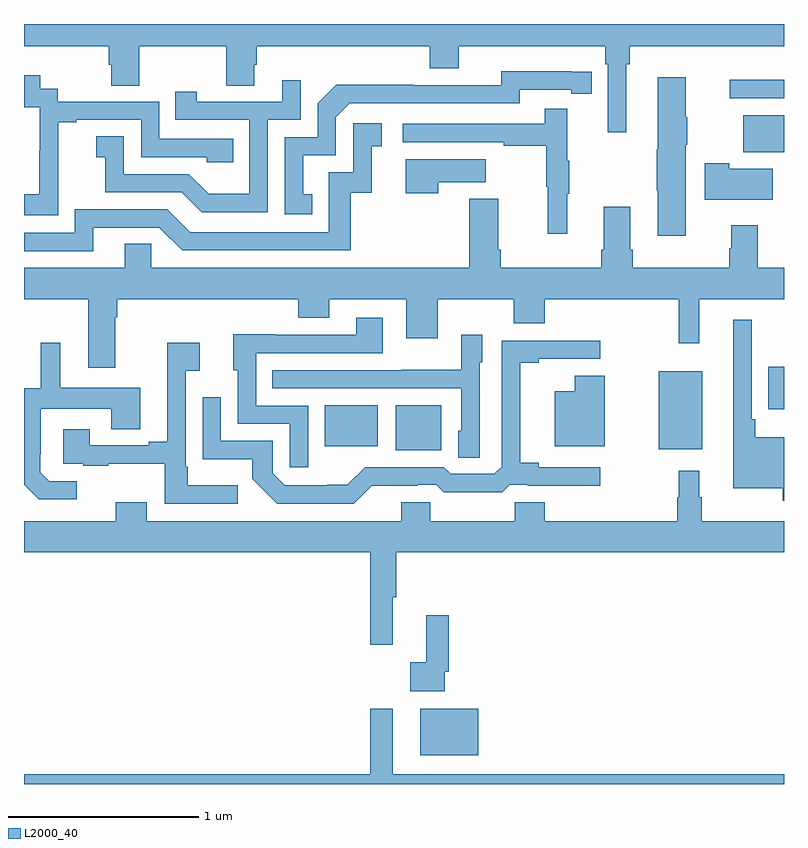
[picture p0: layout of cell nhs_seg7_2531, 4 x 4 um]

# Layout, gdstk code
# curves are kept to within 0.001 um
import gdstk
lib = gdstk.Library(unit=1e-6, precision=1e-09)
def R(c, l, rs):  # rectangles x0, y0, x1, y1
    for r in rs: c.add(gdstk.rectangle(r[:2], r[2:], *l))
def P(c, l, *ps):  # polygons
    for p in ps: c.add(gdstk.Polygon(p, *l))
L2000_40 = (2000, 40)

nhs_seg7_2531 = lib.new_cell('nhs_seg7_2531')
R(nhs_seg7_2531, L2000_40, [(277.085,1062.152,277.39,1062.397), (276.956,1063.757,277.195,1063.993), (278.342,1063.763,278.569,1064.173), (276.584,1063.778,276.862,1063.993), (278.918,1063.973,279,1064.197), (278.786,1065.326,279,1065.52), (278.715,1065.609,279,1065.706)])
P(nhs_seg7_2531, L2000_40, [(278.17,1065.788),(278.189,1065.788),(278.189,1065.884),(279,1065.884),(279,1066),(275,1066),(275,1065.884),(275.447,1065.884),(275.447,1065.786),(275.459,1065.786),(275.459,1065.676),(275.607,1065.676),(275.607,1065.884),(276.064,1065.884),(276.064,1065.676),(276.211,1065.676),(276.211,1065.786),(276.224,1065.786),(276.224,1065.884),(277.136,1065.884),(277.136,1065.767),(277.288,1065.767),(277.288,1065.884),(278.06,1065.884),(278.06,1065.788),(278.073,1065.788),(278.073,1065.429),(278.17,1065.429)],
  [(276.518,1065.105),(276.469,1065.105),(276.469,1065.309),(276.642,1065.309),(276.642,1065.51),(276.714,1065.582),(277.608,1065.582),(277.608,1065.654),(277.88,1065.654),(277.88,1065.634),(277.988,1065.634),(277.988,1065.75),(277.512,1065.751),(277.512,1065.678),(277.052,1065.678),(277.052,1065.68),(276.644,1065.68),(276.546,1065.582),(276.546,1065.405),(276.372,1065.405),(276.372,1065),(276.518,1065)],
  [(275.181,1065.199),(275.18,1065.199),(275.18,1065.483),(275.275,1065.483),(275.275,1065.495),(275.616,1065.495),(275.616,1065.3),(275.961,1065.3),(275.961,1065.273),(276.101,1065.273),(276.101,1065.396),(275.712,1065.396),(275.712,1065.591),(275.178,1065.591),(275.178,1065.66),(275.086,1065.66),(275.086,1065.73),(275,1065.73),(275,1065.561),(275.082,1065.561),(275.082,1065.332),(275.081,1065.332),(275.081,1065.103),(275,1065.103),(275,1064.993),(275.181,1064.993)],
  [(278.482,1065.364),(278.49,1065.364),(278.49,1065.508),(278.482,1065.508),(278.482,1065.721),(278.336,1065.721),(278.336,1065.341),(278.329,1065.341),(278.329,1065.124),(278.336,1065.124),(278.336,1064.886),(278.482,1064.886)],
  [(276.282,1065.495),(276.456,1065.495),(276.456,1065.703),(276.359,1065.703),(276.359,1065.591),(275.908,1065.591),(275.908,1065.643),(275.797,1065.643),(275.797,1065.495),(276.186,1065.495),(276.186,1065.106),(275.972,1065.106),(275.868,1065.21),(275.526,1065.21),(275.526,1065.409),(275.379,1065.409),(275.379,1065.299),(275.428,1065.299),(275.428,1065.114),(275.831,1065.114),(275.936,1065.009),(276.282,1065.009)],
  [(277.859,1065.107),(277.87,1065.107),(277.87,1065.281),(277.859,1065.281),(277.859,1065.553),(277.741,1065.553),(277.741,1065.474),(276.993,1065.474),(276.993,1065.378),(277.525,1065.378),(277.525,1065.358),(277.749,1065.358),(277.749,1065.144),(277.756,1065.144),(277.756,1064.895),(277.859,1064.895)],
  [(275.365,1064.928),(275.712,1064.928),(275.832,1064.808),(276.719,1064.808),(276.719,1065.111),(276.83,1065.111),(276.83,1065.357),(276.883,1065.357),(276.883,1065.478),(276.732,1065.478),(276.732,1065.219),(276.603,1065.219),(276.603,1064.904),(275.874,1064.904),(275.754,1065.024),(275.268,1065.024),(275.268,1064.901),(275,1064.901),(275,1064.805),(275.365,1064.805)],
  [(277.181,1065.167),(277.429,1065.167),(277.429,1065.289),(277.01,1065.289),(277.01,1065.108),(277.181,1065.108)],
  [(278.941,1065.238),(278.712,1065.238),(278.712,1065.268),(278.582,1065.268),(278.582,1065.074),(278.941,1065.074)],
  [(275.479,1064.456),(275.492,1064.456),(275.492,1064.552),(276.443,1064.552),(276.443,1064.453),(276.607,1064.453),(276.607,1064.552),(277.013,1064.552),(277.013,1064.346),(277.177,1064.346),(277.177,1064.552),(277.577,1064.552),(277.577,1064.424),(277.741,1064.424),(277.741,1064.552),(278.445,1064.552),(278.445,1064.319),(278.555,1064.319),(278.555,1064.552),(279,1064.552),(279,1064.716),(278.863,1064.716),(278.863,1064.941),(278.723,1064.941),(278.723,1064.82),(278.711,1064.82),(278.711,1064.716),(278.204,1064.716),(278.204,1064.812),(278.191,1064.812),(278.191,1065.037),(278.051,1065.037),(278.051,1064.812),(278.039,1064.812),(278.039,1064.716),(277.508,1064.716),(277.508,1064.812),(277.495,1064.812),(277.495,1065.079),(277.343,1065.079),(277.343,1064.716),(275.67,1064.716),(275.67,1064.843),(275.531,1064.843),(275.531,1064.716),(275,1064.716),(275,1064.552),(275.339,1064.552),(275.339,1064.19),(275.479,1064.19)],
  [(276.495,1063.992),(276.222,1063.992),(276.222,1064.268),(276.889,1064.268),(276.889,1064.455),(276.749,1064.455),(276.749,1064.364),(276.319,1064.364),(276.319,1064.366),(276.101,1064.366),(276.101,1064.178),(276.126,1064.178),(276.126,1063.896),(276.399,1063.896),(276.399,1063.668),(276.495,1063.668)],
  [(279,1063.825),(278.849,1063.825),(278.849,1063.921),(278.829,1063.921),(278.829,1064.443),(278.732,1064.443),(278.732,1063.556),(278.994,1063.556),(278.994,1063.491),(279,1063.491)],
  [(277.398,1064.22),(277.411,1064.22),(277.411,1064.365),(277.302,1064.365),(277.302,1064.179),(276.985,1064.179),(276.985,1064.178),(276.307,1064.178),(276.307,1064.082),(277.302,1064.082),(277.302,1063.86),(277.286,1063.86),(277.286,1063.717),(277.398,1063.717)],
  [(276.83,1063.571),(277.07,1063.571),(277.07,1063.575),(277.17,1063.575),(277.21,1063.536),(277.517,1063.536),(277.557,1063.575),(277.651,1063.575),(277.651,1063.571),(278.032,1063.571),(278.032,1063.668),(277.708,1063.668),(277.708,1063.691),(277.613,1063.691),(277.613,1064.218),(277.708,1064.218),(277.708,1064.238),(278.032,1064.238),(278.032,1064.334),(277.515,1064.334),(277.515,1063.671),(277.476,1063.632),(277.245,1063.632),(277.209,1063.668),(276.795,1063.668),(276.701,1063.574),(276.596,1063.574),(276.596,1063.572),(276.372,1063.572),(276.309,1063.635),(276.309,1063.806),(276.036,1063.806),(276.036,1064.035),(275.94,1064.035),(275.94,1063.709),(276.202,1063.709),(276.202,1063.607),(276.332,1063.476),(276.735,1063.476)],
  [(275.278,1063.593),(275.133,1063.593),(275.086,1063.64),(275.086,1063.735),(275.088,1063.735),(275.088,1063.976),(275.459,1063.976),(275.459,1063.867),(275.611,1063.867),(275.611,1064.086),(275.191,1064.086),(275.191,1064.323),(275.087,1064.323),(275.087,1064.084),(275,1064.084),(275,1063.576),(275.077,1063.499),(275.278,1063.499)],
  [(276.124,1063.573),(275.863,1063.573),(275.863,1063.669),(275.85,1063.669),(275.85,1064.174),(275.926,1064.174),(275.926,1064.323),(275.753,1064.323),(275.753,1063.801),(275.657,1063.801),(275.657,1063.782),(275.347,1063.782),(275.347,1063.867),(275.207,1063.867),(275.207,1063.686),(275.311,1063.686),(275.311,1063.674),(275.443,1063.674),(275.443,1063.685),(275.742,1063.685),(275.742,1063.476),(276.124,1063.476)],
  [(278.056,1064.149),(277.898,1064.149),(277.898,1064.068),(277.793,1064.068),(277.793,1063.778),(278.056,1063.778)],
  [(276.941,1062.984),(276.959,1062.984),(276.959,1063.22),(279,1063.22),(279,1063.384),(278.566,1063.384),(278.566,1063.508),(278.554,1063.508),(278.554,1063.648),(278.445,1063.648),(278.445,1063.508),(278.437,1063.508),(278.437,1063.384),(277.742,1063.384),(277.742,1063.482),(277.582,1063.482),(277.582,1063.384),(277.137,1063.384),(277.137,1063.482),(276.986,1063.482),(276.986,1063.384),(275.647,1063.384),(275.647,1063.483),(275.483,1063.483),(275.483,1063.384),(275,1063.384),(275,1063.22),(276.823,1063.22),(276.823,1062.732),(276.941,1062.732)],
  [(277.215,1062.592),(277.235,1062.592),(277.235,1062.889),(277.118,1062.889),(277.118,1062.641),(277.032,1062.641),(277.032,1062.488),(277.215,1062.488)],
  [(279,1062.052),(276.94,1062.052),(276.94,1062.397),(276.823,1062.397),(276.823,1062.052),(275,1062.052),(275,1062),(279,1062)])

lib.write_gds('nhs_seg7_2531.gds')
